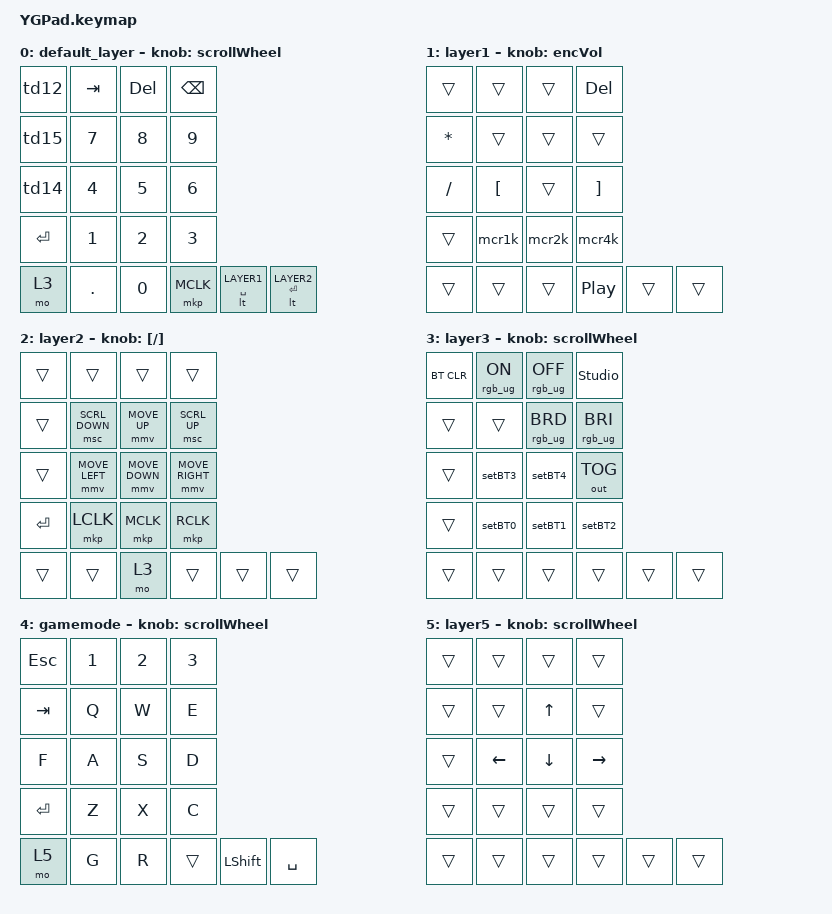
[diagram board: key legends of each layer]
/*
 * Copyright (c) 2020 The ZMK Contributors
 * SPDX-License-Identifier: MIT
pin matrix changed
 */

#include <behaviors.dtsi>
#include <dt-bindings/zmk/keys.h>
#include <dt-bindings/zmk/bt.h>
#include <dt-bindings/zmk/rgb.h>
#include <dt-bindings/zmk/outputs.h>
#include <dt-bindings/zmk/pointing.h>

#define DEFAULT_LAYER 0
#define LAYER1 1
#define LAYER2 2
#define LAYER3 3
#define GAMEMODE 4
#define LAYER5 5

//#define ZMK_MOUSE_SCRL_VAL 120
//#define ZMK_POINTING_DEFAULT_MOVE_VAL 1000
#define ZMK_POINTING_DEFAULT_SCRL_VAL 120

/ {
    behaviors
    {
        lt: layer_tap 
        {
            compatible = "zmk,behavior-hold-tap";
	    tapping-term-ms = <200>;
            //quick-tap-ms = <185>;
            flavor = "hold-preferred"; 
        };
    };

/*
   behaviors {
        lt: layer_tap {
            compatible = "zmk,behavior-hold-tap";
            #binding-cells = <2>;
            flavor = "tap-preferred";
            tapping-term-ms = <200>;
            bindings = <&mo>, <&kp>;
            display-name = "Layer-Tap";
        };
    };
*/

    behaviors
    {
        ht: hold_tap
        {
            compatible = "zmk,behavior-hold-tap";
            #binding-cells = <2>;
            tapping-term-ms = <200>;
            quick-tap-ms = <180>;
            require-prior-idle-ms = <150>;
            flavor = "balanced";
            bindings = <&kp>, <&kp>;
        };
    };

behaviors {
        htQck: hold_tap {
            compatible = "zmk,behavior-hold-tap";
            #binding-cells = <2>;
            tapping-term-ms = <150>;
            quick-tap-ms = <200>;
            require-prior-idle-ms = <130>;
            flavor = "balanced";
            bindings = <&kp>, <&kp>;
        };
    };

 behaviors {
        bhm: balanced_homerow_mods {
            compatible = "zmk,behavior-hold-tap";
            #binding-cells = <2>;
            tapping-term-ms = <200>;
            quick-tap-ms = <180>;
            flavor = "balanced";
            bindings = <&kp>, <&kp>;
        };
    };

 behaviors {
        bhmQck: balanced_homerow_mods {
            compatible = "zmk,behavior-hold-tap";
            #binding-cells = <2>;
            tapping-term-ms = <150>;
            quick-tap-ms = <185>;
            flavor = "balanced";
            bindings = <&kp>, <&kp>;
        };
    };


behaviors {
        td0: tap_dance_0 {
            compatible = "zmk,behavior-tap-dance";
            #binding-cells = <0>;
            tapping-term-ms = <220>;
            bindings = <&kp N1>, <&kp EXCL>;
            };
       };

behaviors {
        td1: tap_dance_1 {
            compatible = "zmk,behavior-tap-dance";
            #binding-cells = <0>;
            tapping-term-ms = <220>;
            bindings = <&kp N2>, <&kp AT>;
            };
       };

behaviors {
        td2: tap_dance_2 {
            compatible = "zmk,behavior-tap-dance";
            #binding-cells = <0>;
            tapping-term-ms = <220>;
            bindings = <&kp N3>, <&kp HASH>;
            };
       };

behaviors {
        td3: tap_dance_3 {
            compatible = "zmk,behavior-tap-dance";
            #binding-cells = <0>;
            tapping-term-ms = <220>;
            bindings = <&kp N4>, <&kp DLLR>;
            };
       };

behaviors {
        td4: tap_dance_4 {
            compatible = "zmk,behavior-tap-dance";
            #binding-cells = <0>;
            tapping-term-ms = <220>;
            bindings = <&kp N5>, <&kp PRCNT>;
            };
       };

behaviors {
        td5: tap_dance_5 {
            compatible = "zmk,behavior-tap-dance";
            #binding-cells = <0>;
            tapping-term-ms = <220>;
            bindings = <&kp N6>, <&kp CARET>;
            };
       };

behaviors {
        td6: tap_dance_6 {
            compatible = "zmk,behavior-tap-dance";
            #binding-cells = <0>;
            tapping-term-ms = <220>;
            bindings = <&kp N7>, <&kp AMPS>;
            };
       };

behaviors {
        td7: tap_dance_7 {
            compatible = "zmk,behavior-tap-dance";
            #binding-cells = <0>;
            tapping-term-ms = <220>;
            bindings = <&kp N8>, <&kp STAR>;
            };
       };

behaviors {
        td8: tap_dance_8 {
            compatible = "zmk,behavior-tap-dance";
            #binding-cells = <0>;
            tapping-term-ms = <220>;
            bindings = <&kp N9>, <&kp LPAR>;
            };
       };

behaviors {
        td9: tap_dance_9 {
            compatible = "zmk,behavior-tap-dance";
            #binding-cells = <0>;
            tapping-term-ms = <220>;
            bindings = <&kp N0>, <&kp RPAR>;
            };
       };

behaviors {
        td10: tap_dance_10 {
            compatible = "zmk,behavior-tap-dance";
            #binding-cells = <0>;
            tapping-term-ms = <220>;
            bindings = <&kp MINUS>, <&kp UNDER>;
            };
       };

behaviors {
        td11: tap_dance_11 {
            compatible = "zmk,behavior-tap-dance";
            #binding-cells = <0>;
            tapping-term-ms = <220>;
            bindings = <&kp PLUS>, <&kp EQUAL>;
            };
       };

behaviors {
        td12: tap_dance_12 {
            compatible = "zmk,behavior-tap-dance";
            #binding-cells = <0>;
            tapping-term-ms = <220>;
            bindings = <&kp ESC>, <&kp TILDE>, <&kp GRAVE>;
            };
       };

behaviors {
        td13: tap_dance_13 {
            compatible = "zmk,behavior-tap-dance";
            #binding-cells = <0>;
            tapping-term-ms = <220>;
            bindings = <&kp DOT>, <&kp COMMA>;
            };
       };

behaviors {
        td14: tap_dance_14 {
            compatible = "zmk,behavior-tap-dance";
            #binding-cells = <0>;
            tapping-term-ms = <220>;
            bindings = <&kp MINUS>, <&kp FSLH>;
            };

       };

behaviors {
        td15: tap_dance_15 {
            compatible = "zmk,behavior-tap-dance";
            #binding-cells = <0>;
            tapping-term-ms = <220>;
            bindings = <&kp PLUS>, <&kp STAR>;
            };
       };

behaviors {
        td16: tap_dance_16 {
            compatible = "zmk,behavior-tap-dance";
            #binding-cells = <0>;
            tapping-term-ms = <220>;
            bindings = <&kp UNDER>, <&kp LPAR>;
            };
       };

behaviors {
        td17: tap_dance_17 {
            compatible = "zmk,behavior-tap-dance";
            #binding-cells = <0>;
            tapping-term-ms = <220>;
            bindings = <&kp EQUAL>, <&kp RPAR>;
            };
       };

behaviors {
        tdDot: tap_dance_dot {
            compatible = "zmk,behavior-tap-dance";
            #binding-cells = <0>;
            tapping-term-ms = <220>;
            bindings = <&kp DOT>, <&kp LPAR>;
            };
       };

//------------------------------------Encoder

behaviors {
	scrollWheel: scrollWheel {
		compatible = "zmk,behavior-sensor-rotate";
		#sensor-binding-cells = <0>;
        	tap-ms = <20>;
        	bindings = <&msc SCRL_DOWN>, <&msc SCRL_UP>;
		};
	};


behaviors {
	encVol: encVol {
		compatible = "zmk,behavior-sensor-rotate";
		#sensor-binding-cells = <0>;
        	tap-ms = <20>;
        	bindings = <&kp C_VOL_DN>, <&kp C_VOL_UP>;
		};
	};

//------------------------------------Encoder End

combos
{
    compatible = "zmk,combos";
    
    combo_BootLoader {
        timeout-ms = <50>;
        key-positions = <0 3 12 18>;
        bindings = <&bootloader>;
    };

    combo_TogGameMode {
        timeout-ms = <50>;
        key-positions = <0 3 18>;
        bindings = <&tog 4>;
    };


/*
    combo_tab {
    	timeout-ms = <50>;
    	key-positions = <1 2>;
    	bindings = <&kp TAB>;
    };

    //Disable Combos
    	combo_tilde {
    	timeout-ms = <50>;
    	key-positions = <0 1>;
    	bindings = <&kp TILDE>;
    };

    combo_1 {
    	timeout-ms = <50>;
    	key-positions = <1 13>;
    	bindings = <&kp N1>;
    };

    combo_2 {
    	timeout-ms = <50>;
    	key-positions = <2 14>;
    	bindings = <&kp N2>;
    };

    combo_3 {
    	timeout-ms = <50>;
    	key-positions = <3 15>;
    	bindings = <&kp N3>;
    };

    combo_4 {
    	timeout-ms = <50>;
    	key-positions = <4 16>;
    	bindings = <&kp N4>;
    };

    combo_5 {
        timeout-ms = <50>;
        key-positions = <5 17>;
        bindings = <&kp N5>;
    };

    combo_6 {
        timeout-ms = <50>;
        key-positions = <6 18>;
        bindings = <&kp N6>;
    };

    combo_7 {
    	timeout-ms = <50>;
        key-positions = <7 19>;
        bindings = <&kp N7>;
    };

    combo_8 {
        timeout-ms = <50>;
        key-positions = <8 20>;
        bindings = <&kp N8>;
    };

    combo_9 {
        timeout-ms = <50>;
        key-positions = <9 21>;
        bindings = <&kp N9>;
    };

    combo_10 {
    	timeout-ms = <50>;
        key-positions = <10 22>;
        bindings = <&kp N0>;
    };

    combo_11 {
        timeout-ms = <50>;
        key-positions = <11 23>;
        bindings = <&kp MINUS>;
    };

    combo_12 {
        timeout-ms = <50>;
        key-positions = <53 55>;
        bindings = <&kp EQUAL>;
    };

    combo_exc {
        timeout-ms = <50>;
        key-positions = <13 25>;
        bindings = <&kp EXCL>;
    };

    combo_at {
        timeout-ms = <50>;
        key-positions = <14 26>;
        bindings = <&kp AT>;
    };

    combo_hash {
        timeout-ms = <50>;
        key-positions = <15 27>;
        bindings = <&kp HASH>;
    };

    combo_dllr {
        timeout-ms = <50>;
        key-positions = <16 28>;
        bindings = <&kp DLLR>;
    };

    combo_prcnt {
    	timeout-ms = <50>;
        key-positions = <17 29>;
        bindings = <&kp PRCNT>;
        };

    combo_caret {
        timeout-ms = <50>;
        key-positions = <18 30>;
        bindings = <&kp CARET>;
        };

    combo_amps {
        timeout-ms = <50>;
        key-positions = <19 31>;
        bindings = <&kp AMPS>;
    };

    combo_star {
        timeout-ms = <50>;
        key-positions = <20 32>;
        bindings = <&kp STAR>;
    };

    combo_lpar {
        timeout-ms = <50>;
        key-positions = <21 33>;
        bindings = <&kp LPAR>;
    };

    combo_rpar {
        timeout-ms = <50>;
        key-positions = <22 34>;
        bindings = <&kp RPAR>;
    };

    combo_minus {
        timeout-ms = <50>;
        key-positions = <23 35>;
        bindings = <&kp UNDER>;
    };

    combo_equal {
        timeout-ms = <50>;
        key-positions = <52 53>;
        bindings = <&kp PLUS>;
    };

    combo_equal2 {
        timeout-ms = <50>;
        key-positions = <42 43>;
        bindings = <&kp EQUAL>;
    };

    combo_TaskManager {
    	timeout-ms = <50>;
    	key-positions = <36 38 54>;
    	bindings = <&mcrTaskManager>;
    };
*/

}; //end combo

macros
{
    mcr00: mcr00
    {
        compatible = "zmk,behavior-macro";
        #binding-cells = <0>;
        bindings = <&macro_tap &kp KP_N0 &kp KP_N0>;
    };

    mcr1: mcr1
    {
        compatible = "zmk,behavior-macro";
        #binding-cells = <0>;
        bindings = <&macro_tap &kp H &kp E &kp L &kp L &kp O &kp N2 &kp K &kp U &kp N>;
    };

      mcr2: mcr2 
      {
            compatible = "zmk,behavior-macro";
            #binding-cells = <0>;
            bindings = <&macro_tap &kp B &kp A &kp B &kp O &kp N0 &kp N9 &kp N7 &kp N9>
                     , <&macro_press &kp LSHFT>
                     , <&macro_tap &kp N1 &kp N2>
                     , <&macro_release &kp LSHFT>;
      };

      mcr3: mcr3
      {
            compatible = "zmk,behavior-macro";
            #binding-cells = <0>;
            bindings
                = <&macro_tap &kp R &kp M &kp S &kp N0 &kp N9 &kp N7 &kp N9>
                , <&macro_press &kp LSHFT>
                , <&macro_tap &kp N1 &kp N2 &kp N3>
                , <&macro_release &kp LSHFT>;
      };

      mcr4: mcr4
      {
            compatible = "zmk,behavior-macro";
            #binding-cells = <0>;
            bindings
                = //<&macro_press &kp LSHFT>,
                //<&macro_tap &kp N2>,
                //<&macro_release &kp LSHFT>,

                <&macro_tap &kp LBKT>,

                <&macro_press &kp LSHFT>,
                <&macro_tap &kp T &kp A &kp SEMI>,
                <&macro_release &kp LSHFT>,

                <&macro_tap &kp RALT &kp Q &kp K &kp R &kp D &kp L &kp R &kp M &kp S &kp RBKT &kp SPACE>,

                <&macro_press &kp LSHFT>,
                <&macro_tap &kp N4>,
                <&macro_release &kp LSHFT>;
      };

        mcr5: mcr5
        {
            compatible = "zmk,behavior-macro";
            #binding-cells = <0>;
            bindings
                = <&macro_tap &kp AT &kp G &kp M &kp A &kp I &kp L &kp DOT &kp C &kp O &kp M>;
        };

        mcr6: mcr6
        {
            compatible = "zmk,behavior-macro";
            #binding-cells = <0>;
            bindings
                = <&macro_tap &kp AT &kp N &kp A &kp V &kp E &kp R &kp DOT &kp C &kp O &kp M>;
        };

        mcr7: mcr7
        {
            compatible = "zmk,behavior-macro";
            #binding-cells = <0>;
            bindings
                = <&macro_tap &kp AT &kp N &kp M &kp MINUS &kp N &kp E &kp X &kp U &kp S &kp DOT &kp C &kp O &kp M>;
        };

        mcr8: mcr8
        {
            compatible = "zmk,behavior-macro";
            #binding-cells = <0>;
            bindings
                = <&macro_tap &kp N0 &kp N8 &kp N1 &kp N6 &kp N8 &kp N1>;
        };

	mcr1k: mcr1k
        {
            compatible = "zmk,behavior-macro";
            #binding-cells = <0>;
            bindings
                = <&macro_tap &kp N1 &kp N0 &kp N2 &kp N4>;
        };

	mcr2k: mcr2k
        {
            compatible = "zmk,behavior-macro";
            #binding-cells = <0>;
            bindings
                = <&macro_tap &kp N2 &kp N0 &kp N4 &kp N8>;
        };

	mcr4k: mcr4k
        {
            compatible = "zmk,behavior-macro";
            #binding-cells = <0>;
            bindings
                = <&macro_tap &kp N4 &kp N0 &kp N9 &kp N6>;
        };

        setBT0: setBT0
        {
            compatible = "zmk,behavior-macro";
            #binding-cells = <0>;
            bindings
                = <&macro_tap &bt BT_SEL 0>
                , <&macro_tap &rgb_ug RGB_COLOR_HSB(0,100,100)>;
        };

        setBT1: setBT1
        {
            compatible = "zmk,behavior-macro";
            #binding-cells = <0>;
            bindings
                = <&macro_tap &bt BT_SEL 1>
                , <&macro_tap &rgb_ug RGB_COLOR_HSB(120,100,100)>;
        };

        setBT2: setBT2
        {
            compatible = "zmk,behavior-macro";
            #binding-cells = <0>;
            bindings
                = <&macro_tap &bt BT_SEL 2>
                , <&macro_tap &rgb_ug RGB_COLOR_HSB(240,100,100)>;
        };

        setBT3: setBT3
        {
            compatible = "zmk,behavior-macro";
            #binding-cells = <0>;
            bindings
                = <&macro_tap &bt BT_SEL 3>
                , <&macro_tap &rgb_ug RGB_COLOR_HSB(60,100,100)>;
        };

        setBT4: setBT4
        {
            compatible = "zmk,behavior-macro";
            #binding-cells = <0>;
            bindings
                = <&macro_tap &bt BT_SEL 4>
                , <&macro_tap &rgb_ug RGB_COLOR_HSB(180,100,100)>;
        };

        mcrTaskManager: mcrTaskManager
        {
            compatible = "zmk,behavior-macro";
            #binding-cells = <0>;
            bindings
                = <&macro_press &kp LCTRL &kp LALT &kp DEL>
                , <&macro_release &kp LCTRL &kp LALT &kp DEL>;
        };

}; // end macro


keymap 
{
    compatible = "zmk,keymap";

    default_layer
    {
        bindings = <
		&td12          &kp TAB    &kp DEL  &kp BSPC  
		&td15          &kp N7     &kp N8   &kp N9
		&td14          &kp N4     &kp N5   &kp N6
		&kp ENTER      &kp N1     &kp N2   &kp N3
		&mo 3	       &kp DOT    &kp N0   &mkp MCLK   &lt LAYER1 SPACE   &lt LAYER2 ENTER
		>;
		sensor-bindings = <&scrollWheel>;
    };

    layer1 
    {
        bindings = <
		&trans    &trans    &trans    &kp DEL
		&kp STAR  &trans    &trans    &trans  
		&kp FSLH  &kp LBKT  &trans    &kp RBKT
		&trans    &mcr1k    &mcr2k    &mcr4k
		&trans    &trans    &trans    &kp C_PP    &trans    &trans
        >;
		sensor-bindings = <&encVol>;
    };

	layer2
    {
        bindings = <
		&trans		&trans           &trans          &trans   
		&trans    	&msc SCRL_DOWN   &mmv MOVE_UP    &msc SCRL_UP 
		&trans    	&mmv MOVE_LEFT   &mmv MOVE_DOWN  &mmv MOVE_RIGHT
		&kp ENTER 	&mkp LCLK        &mkp MCLK       &mkp RCLK
		&trans    	&trans           &mo 3           &trans       &trans    &trans
        >;
        sensor-bindings = <&inc_dec_cp LBKT RBKT>;
    }; 

	layer3
    {
        bindings = <
		&bt BT_CLR &rgb_ug RGB_ON &rgb_ug RGB_OFF  &studio_unlock  
		&trans     &trans    &rgb_ug RGB_BRD  &rgb_ug RGB_BRI 
		&trans     &setBT3   &setBT4   &out OUT_TOG
		&trans     &setBT0   &setBT1   &setBT2
		&trans     &trans    &trans    &trans    &trans    &trans
        >;
        sensor-bindings = <&scrollWheel>;
    };

	gamemode
    {
        bindings = <
		&kp ESC   &kp N1   &kp N2   &kp N3   
		&kp TAB   &kp Q    &kp W    &kp E 
		&kp F     &kp A    &kp S    &kp D  
		&kp ENTER &kp Z    &kp X    &kp C    
		&mo 5    &kp G   &kp R    &trans    &kp LSHFT    &kp SPACE
        >;
        sensor-bindings = <&scrollWheel>;
    }; 

	layer5
    {
        bindings = <
		&trans    &trans    &trans    &trans   
		&trans    &trans    &kp UP    &trans 
		&trans    &kp LEFT  &kp DOWN  &kp RIGHT  
		&trans    &trans    &trans    &trans    
		&trans    &trans    &trans    &trans    &trans    &trans
        >;
        sensor-bindings = <&scrollWheel>;
    }; 

    }; //Keymap End
}; //All End
